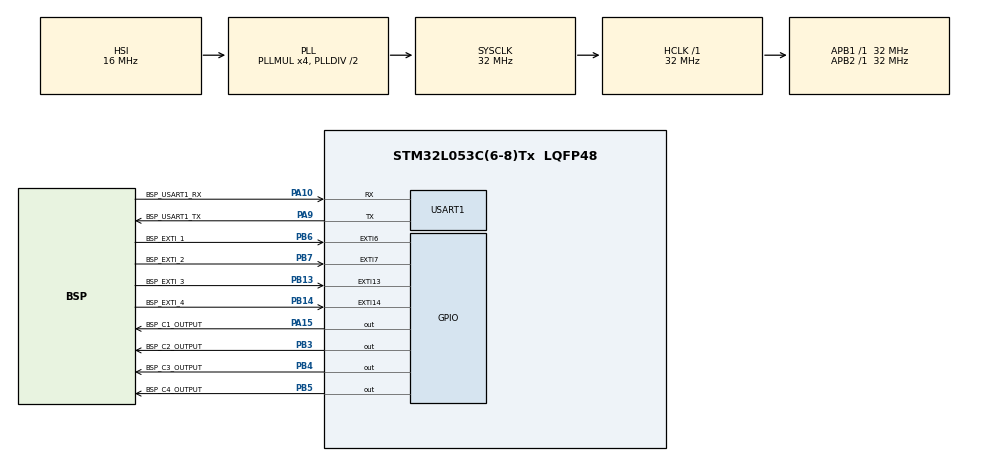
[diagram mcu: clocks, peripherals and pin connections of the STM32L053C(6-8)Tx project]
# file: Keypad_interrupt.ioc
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Mcu.Family=STM32L0
Mcu.Name=STM32L053C(6-8)Tx
Mcu.Package=LQFP48
NVIC.EXTI4_15_IRQn=true\:0\:0\:false\:false\:true\:true\:true\:true
PA10.GPIO_Label=BSP_USART1_RX
PA10.Mode=Asynchronous
PA10.Signal=USART1_RX
PA13.Mode=Serial_Wire
PA13.Signal=SYS_SWDIO
PA14.Mode=Serial_Wire
PA14.Signal=SYS_SWCLK
PA15.GPIO_Label=BSP_C1_OUTPUT
PA15.Signal=GPIO_Output
PA9.GPIO_Label=BSP_USART1_TX
PA9.Mode=Asynchronous
PA9.Signal=USART1_TX
PB13.GPIO_Label=BSP_EXTI_3
PB13.Signal=GPXTI13
PB14.GPIO_Label=BSP_EXTI_4
PB14.Signal=GPXTI14
PB3.GPIO_Label=BSP_C2_OUTPUT
PB3.Signal=GPIO_Output
PB4.GPIO_Label=BSP_C3_OUTPUT
PB4.Signal=GPIO_Output
PB5.GPIO_Label=BSP_C4_OUTPUT
PB5.Signal=GPIO_Output
PB6.GPIO_Label=BSP_EXTI_1
PB6.Signal=GPXTI6
PB7.GPIO_Label=BSP_EXTI_2
PB7.Signal=GPXTI7
ProjectManager.HeapSize=0x200
ProjectManager.StackSize=0x400
ProjectManager.TargetToolchain=STM32CubeIDE
RCC.AHBFreq_Value=32000000
RCC.APB1Freq_Value=32000000
RCC.APB1TimFreq_Value=32000000
RCC.APB2Freq_Value=32000000
RCC.APB2TimFreq_Value=32000000
RCC.HCLKFreq_Value=32000000
RCC.HSE_VALUE=8000000
RCC.HSI16_VALUE=16000000
RCC.HSI48MClockSelection=RCC_USBCLKSOURCE_HSI48
RCC.HSI48_VALUE=48000000
RCC.HSI_VALUE=16000000
RCC.LSE_VALUE=32768
RCC.MSI_VALUE=2097000
RCC.PLLMUL=RCC_PLLMUL_4
RCC.RTCClockSelectionVirtual=RCC_RTCCLKSOURCE_LSE
RCC.SYSCLKFreq_VALUE=32000000
RCC.SYSCLKSource=RCC_SYSCLKSOURCE_PLLCLK
RCC.VCOOutputFreq_Value=64000000
USART1.VirtualMode-Asynchronous=VM_ASYNC
board=STM32L0538-DISCO

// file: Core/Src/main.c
/* USER CODE BEGIN Header */
/**
  ******************************************************************************
  * @file           : main.c
  * @brief          : Main program body
  ******************************************************************************
  * @attention
  *
  * Copyright (c) 2024 STMicroelectronics.
  * All rights reserved.
  *
  * This software is licensed under terms that can be found in the LICENSE file
  * in the root directory of this software component.
  * If no LICENSE file comes with this software, it is provided AS-IS.
  *
  ******************************************************************************
  */
/* USER CODE END Header */
#include "main.h"

/* USER CODE BEGIN Includes */
#include<stdio.h>
/* USER CODE END Includes */

UART_HandleTypeDef huart1;

/* USER CODE BEGIN PV */
GPIO_InitTypeDef GPIO_InitStructPrivate = {0};
  uint32_t previousMillis = 0;
  uint32_t currentMillis = 0;
  uint8_t keyPressed = 0;
/* USER CODE END PV */

void SystemClock_Config(void);
static void MX_GPIO_Init(void);
static void MX_USART1_UART_Init(void);

/* USER CODE BEGIN 0 */
void GPIO_Initialize(void) {
  HAL_GPIO_WritePin(GPIOA, GPIO_PIN_15, GPIO_PIN_SET);
  HAL_GPIO_WritePin(GPIOB, GPIO_PIN_3, GPIO_PIN_SET);
  HAL_GPIO_WritePin(GPIOB, GPIO_PIN_4, GPIO_PIN_SET);
  HAL_GPIO_WritePin(GPIOB, GPIO_PIN_5, GPIO_PIN_SET);
}

/* USER CODE END 0 */

int main(void)
{

  /* MCU Configuration--------------------------------------------------------*/

  /* Reset of all peripherals, Initializes the Flash interface and the Systick. */
  HAL_Init();

  /* Configure the system clock */
  SystemClock_Config();

  /* Initialize all configured peripherals */
  MX_GPIO_Init();
  MX_USART1_UART_Init();
  /* USER CODE BEGIN 2 */
  GPIO_Initialize(); // Call GPIO initialization function
  /* USER CODE END 2 */

  /* Infinite loop */
  while (1)
  {

    /* USER CODE BEGIN 3 */
	  int PIN1 = (HAL_GPIO_ReadPin(GPIOB, GPIO_PIN_6));
	  int PIN2 = (HAL_GPIO_ReadPin(GPIOB, GPIO_PIN_7));
	  int PIN3 = (HAL_GPIO_ReadPin(GPIOB, GPIO_PIN_13));
	  int PIN4 = (HAL_GPIO_ReadPin(GPIOB, GPIO_PIN_14));
  }
  /* USER CODE END 3 */
}

void SystemClock_Config(void)
{
  RCC_OscInitTypeDef RCC_OscInitStruct = {0};
  RCC_ClkInitTypeDef RCC_ClkInitStruct = {0};
  RCC_PeriphCLKInitTypeDef PeriphClkInit = {0};

  /** Configure the main internal regulator output voltage
  */
  __HAL_PWR_VOLTAGESCALING_CONFIG(PWR_REGULATOR_VOLTAGE_SCALE1);

  /** Initializes the RCC Oscillators according to the specified parameters
  * in the RCC_OscInitTypeDef structure.
  */
  RCC_OscInitStruct.OscillatorType = RCC_OSCILLATORTYPE_HSI;
  RCC_OscInitStruct.HSIState = RCC_HSI_ON;
  RCC_OscInitStruct.HSICalibrationValue = RCC_HSICALIBRATION_DEFAULT;
  RCC_OscInitStruct.PLL.PLLState = RCC_PLL_ON;
  RCC_OscInitStruct.PLL.PLLSource = RCC_PLLSOURCE_HSI;
  RCC_OscInitStruct.PLL.PLLMUL = RCC_PLLMUL_4;
  RCC_OscInitStruct.PLL.PLLDIV = RCC_PLLDIV_2;
  if (HAL_RCC_OscConfig(&RCC_OscInitStruct) != HAL_OK)
  {
    Error_Handler();
  }

  /** Initializes the CPU, AHB and APB buses clocks
  */
  RCC_ClkInitStruct.ClockType = RCC_CLOCKTYPE_HCLK|RCC_CLOCKTYPE_SYSCLK
                              |RCC_CLOCKTYPE_PCLK1|RCC_CLOCKTYPE_PCLK2;
  RCC_ClkInitStruct.SYSCLKSource = RCC_SYSCLKSOURCE_PLLCLK;
  RCC_ClkInitStruct.AHBCLKDivider = RCC_SYSCLK_DIV1;
  RCC_ClkInitStruct.APB1CLKDivider = RCC_HCLK_DIV1;
  RCC_ClkInitStruct.APB2CLKDivider = RCC_HCLK_DIV1;

  if (HAL_RCC_ClockConfig(&RCC_ClkInitStruct, FLASH_LATENCY_1) != HAL_OK)
  {
    Error_Handler();
  }
  PeriphClkInit.PeriphClockSelection = RCC_PERIPHCLK_USART1;
  PeriphClkInit.Usart1ClockSelection = RCC_USART1CLKSOURCE_PCLK2;
  if (HAL_RCCEx_PeriphCLKConfig(&PeriphClkInit) != HAL_OK)
  {
    Error_Handler();
  }
}

static void MX_USART1_UART_Init(void)
{

  huart1.Instance = USART1;
  huart1.Init.BaudRate = 115200;
  huart1.Init.WordLength = UART_WORDLENGTH_8B;
  huart1.Init.StopBits = UART_STOPBITS_1;
  huart1.Init.Parity = UART_PARITY_NONE;
  huart1.Init.Mode = UART_MODE_TX_RX;
  huart1.Init.HwFlowCtl = UART_HWCONTROL_NONE;
  huart1.Init.OverSampling = UART_OVERSAMPLING_16;
  huart1.Init.OneBitSampling = UART_ONE_BIT_SAMPLE_DISABLE;
  huart1.AdvancedInit.AdvFeatureInit = UART_ADVFEATURE_NO_INIT;
  if (HAL_UART_Init(&huart1) != HAL_OK)
  {
    Error_Handler();
  }

}

static void MX_GPIO_Init(void)
{
  GPIO_InitTypeDef GPIO_InitStruct = {0};

  /* GPIO Ports Clock Enable */
  __HAL_RCC_GPIOB_CLK_ENABLE();
  __HAL_RCC_GPIOA_CLK_ENABLE();

  /*Configure GPIO pin Output Level */
  HAL_GPIO_WritePin(BSP_C1_OUTPUT_GPIO_Port, BSP_C1_OUTPUT_Pin, GPIO_PIN_RESET);

  /*Configure GPIO pin Output Level */
  HAL_GPIO_WritePin(GPIOB, BSP_C2_OUTPUT_Pin|BSP_C3_OUTPUT_Pin|BSP_C4_OUTPUT_Pin, GPIO_PIN_RESET);

  /*Configure GPIO pins : BSP_EXTI_3_Pin BSP_EXTI_4_Pin BSP_EXTI_1_Pin BSP_EXTI_2_Pin */
  GPIO_InitStruct.Pin = BSP_EXTI_3_Pin|BSP_EXTI_4_Pin|BSP_EXTI_1_Pin|BSP_EXTI_2_Pin;
  GPIO_InitStruct.Mode = GPIO_MODE_IT_RISING;
  GPIO_InitStruct.Pull = GPIO_NOPULL;
  HAL_GPIO_Init(GPIOB, &GPIO_InitStruct);

  /*Configure GPIO pin : BSP_C1_OUTPUT_Pin */
  GPIO_InitStruct.Pin = BSP_C1_OUTPUT_Pin;
  GPIO_InitStruct.Mode = GPIO_MODE_OUTPUT_PP;
  GPIO_InitStruct.Pull = GPIO_NOPULL;
  GPIO_InitStruct.Speed = GPIO_SPEED_FREQ_LOW;
  HAL_GPIO_Init(BSP_C1_OUTPUT_GPIO_Port, &GPIO_InitStruct);

  /*Configure GPIO pins : BSP_C2_OUTPUT_Pin BSP_C3_OUTPUT_Pin BSP_C4_OUTPUT_Pin */
  GPIO_InitStruct.Pin = BSP_C2_OUTPUT_Pin|BSP_C3_OUTPUT_Pin|BSP_C4_OUTPUT_Pin;
  GPIO_InitStruct.Mode = GPIO_MODE_OUTPUT_PP;
  GPIO_InitStruct.Pull = GPIO_NOPULL;
  GPIO_InitStruct.Speed = GPIO_SPEED_FREQ_LOW;
  HAL_GPIO_Init(GPIOB, &GPIO_InitStruct);

  /* EXTI interrupt init*/
  HAL_NVIC_SetPriority(EXTI4_15_IRQn, 0, 0);
  HAL_NVIC_EnableIRQ(EXTI4_15_IRQn);

}

/* USER CODE BEGIN 4 */
void HAL_GPIO_EXTI_Callback(uint16_t GPIO_Pin)
{
  currentMillis = HAL_GetTick();
  if (currentMillis - previousMillis > 10) {
    /*Configure GPIO pins : PB6 PB7 PB8 PB9 to GPIO_INPUT*/
    GPIO_InitStructPrivate.Pin = GPIO_PIN_6|GPIO_PIN_7|GPIO_PIN_13|GPIO_PIN_14;
    GPIO_InitStructPrivate.Mode = GPIO_MODE_INPUT;
    GPIO_InitStructPrivate.Pull = GPIO_NOPULL;
    GPIO_InitStructPrivate.Speed = GPIO_SPEED_FREQ_LOW;
    HAL_GPIO_Init(GPIOB, &GPIO_InitStructPrivate);

    HAL_GPIO_WritePin(GPIOA, GPIO_PIN_15, 1);
    HAL_GPIO_WritePin(GPIOB, GPIO_PIN_3, 0);
    HAL_GPIO_WritePin(GPIOB, GPIO_PIN_4, 0);
    HAL_GPIO_WritePin(GPIOB, GPIO_PIN_5, 0);
    if((GPIO_Pin == GPIO_PIN_6) && (HAL_GPIO_ReadPin(GPIOB, GPIO_PIN_6)))
    {
      keyPressed = 49; //ASCII value of 1
      printf("KEY = %c\r\n",keyPressed);
    }
    else if((GPIO_Pin == GPIO_PIN_7) && (HAL_GPIO_ReadPin(GPIOB, GPIO_PIN_7)))
    {
    	keyPressed = 50; //ASCII value of 2
    	printf("KEY = %c\r\n",keyPressed);
    }
    else if((GPIO_Pin == GPIO_PIN_13) && (HAL_GPIO_ReadPin(GPIOB, GPIO_PIN_13)))
    {
    	keyPressed = 51; //ASCII value of 3
    	printf("KEY = %c\r\n",keyPressed);

    }
    else if((GPIO_Pin == GPIO_PIN_14) && (HAL_GPIO_ReadPin(GPIOB, GPIO_PIN_14)))
    {
      keyPressed = 65; //ASCII value of A
      printf("KEY = %c\r\n",keyPressed);
    }

    HAL_GPIO_WritePin(GPIOA, GPIO_PIN_15, 0);
    HAL_GPIO_WritePin(GPIOB, GPIO_PIN_3, 1);
    HAL_GPIO_WritePin(GPIOB, GPIO_PIN_4, 0);
    HAL_GPIO_WritePin(GPIOB, GPIO_PIN_5, 0);
    if((GPIO_Pin == GPIO_PIN_6) && (HAL_GPIO_ReadPin(GPIOB, GPIO_PIN_6)))
    {
    	keyPressed = 52; //ASCII value of 4
    	printf("KEY = %c\r\n",keyPressed);
    }
    else if((GPIO_Pin == GPIO_PIN_7) && (HAL_GPIO_ReadPin(GPIOB, GPIO_PIN_7)))
    {
    	keyPressed = 53; //ASCII value of 5
    	printf("KEY = %c\r\n",keyPressed);
    }
    else if((GPIO_Pin == GPIO_PIN_13) && (HAL_GPIO_ReadPin(GPIOB, GPIO_PIN_13)))
    {
        keyPressed = 54; //ASCII value of 6
        printf("KEY = %c\r\n",keyPressed);
    }
    else if((GPIO_Pin == GPIO_PIN_14) && (HAL_GPIO_ReadPin(GPIOB, GPIO_PIN_14)))
    {
    	keyPressed = 66; //ASCII value of B
    	printf("KEY = %c\r\n",keyPressed);
    }

    HAL_GPIO_WritePin(GPIOA, GPIO_PIN_15, 0);
    HAL_GPIO_WritePin(GPIOB, GPIO_PIN_3, 0);
    HAL_GPIO_WritePin(GPIOB, GPIO_PIN_4, 1);
    HAL_GPIO_WritePin(GPIOB, GPIO_PIN_5, 0);
    if((GPIO_Pin == GPIO_PIN_6) && (HAL_GPIO_ReadPin(GPIOB, GPIO_PIN_6)))
    {
    	keyPressed = 55; //ASCII value of 7
    	printf("KEY = %c\r\n",keyPressed);
    }
    else if((GPIO_Pin == GPIO_PIN_7) && (HAL_GPIO_ReadPin(GPIOB, GPIO_PIN_7)))
    {
        keyPressed = 56; //ASCII value of 8
        printf("KEY = %c\r\n",keyPressed);
    }
    else if((GPIO_Pin == GPIO_PIN_13) && (HAL_GPIO_ReadPin(GPIOB, GPIO_PIN_13)))
    {
    	keyPressed = 57; //ASCII value of 9
    	printf("KEY = %c\r\n",keyPressed);
    }
    else if((GPIO_Pin == GPIO_PIN_14) && (HAL_GPIO_ReadPin(GPIOB, GPIO_PIN_14)))
    {
    	keyPressed = 67; //ASCII value of C
    	printf("KEY = %c\r\n",keyPressed);
    }

    HAL_GPIO_WritePin(GPIOA, GPIO_PIN_15, 0);
    HAL_GPIO_WritePin(GPIOB, GPIO_PIN_3, 0);
    HAL_GPIO_WritePin(GPIOB, GPIO_PIN_4, 0);
    HAL_GPIO_WritePin(GPIOB, GPIO_PIN_5, 1);
    if((GPIO_Pin == GPIO_PIN_6) && (HAL_GPIO_ReadPin(GPIOB, GPIO_PIN_6)))
    {
      keyPressed = 42; //ASCII value of *
      printf("KEY = %c\r\n",keyPressed);
    }
    else if((GPIO_Pin == GPIO_PIN_7) && (HAL_GPIO_ReadPin(GPIOB, GPIO_PIN_7)))
    {
    	keyPressed = 48; //ASCII value of 0
    	printf("KEY = %c\r\n",keyPressed);
    }
    else if((GPIO_Pin == GPIO_PIN_13 ) && (HAL_GPIO_ReadPin(GPIOB, GPIO_PIN_13)))
    {
    	keyPressed = 35; //ASCII value of #
    	printf("KEY = %c\r\n",keyPressed);
    }
    else if((GPIO_Pin == GPIO_PIN_14) && (HAL_GPIO_ReadPin(GPIOB, GPIO_PIN_14)))
    {
    	keyPressed = 68; //ASCII value of D
    	printf("KEY = %c\r\n",keyPressed);
    }

    HAL_GPIO_WritePin(GPIOA, GPIO_PIN_15, 1);
    HAL_GPIO_WritePin(GPIOB, GPIO_PIN_3, 1);
    HAL_GPIO_WritePin(GPIOB, GPIO_PIN_4, 1);
    HAL_GPIO_WritePin(GPIOB, GPIO_PIN_5, 1);
    /*Configure GPIO pins : PB6 PB7 PB8 PB9 back to EXTI*/
    GPIO_InitStructPrivate.Mode = GPIO_MODE_IT_RISING;
    GPIO_InitStructPrivate.Pull = GPIO_PULLDOWN;
    HAL_GPIO_Init(GPIOB, &GPIO_InitStructPrivate);
    previousMillis = currentMillis;
  }
}
/* USER CODE END 4 */

void Error_Handler(void)
{
  __disable_irq();
  while (1)
  {
  }
}
